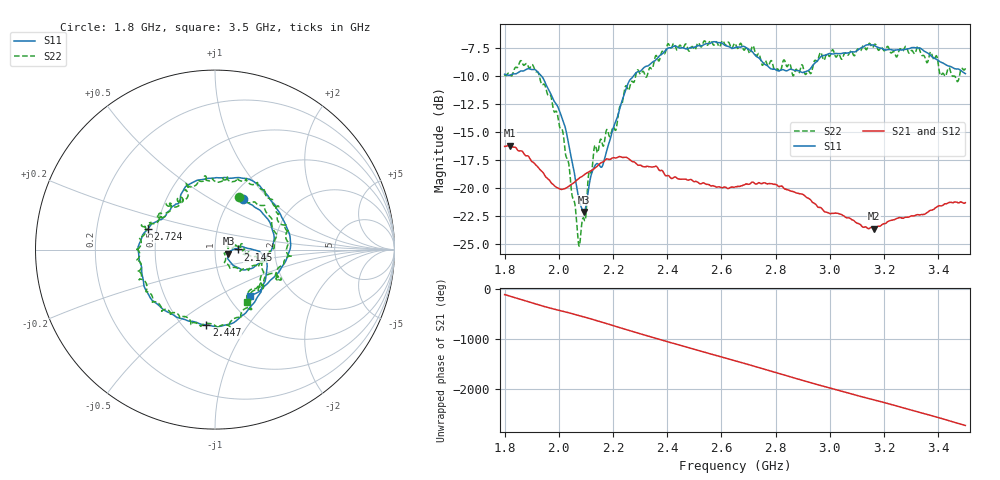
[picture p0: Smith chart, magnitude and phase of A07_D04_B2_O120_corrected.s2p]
! Created with skrf 1.9.0 (http://scikit-rf.org).
# Hz S RI R 50.0
!freq ReS11 ImS11 ReS21 ImS21 ReS12 ImS12 ReS22 ImS22
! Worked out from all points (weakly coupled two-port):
!   1601 points, 1.8 GHz to 3.5 GHz, reference 50 ohm
!   highest |S21| = -16.22 dB at 1.819 GHz (marker M1); lowest = -23.7 dB at 3.163 GHz (marker M2)
!   lowest |S11| = -22.1 dB at 2.092 GHz (marker M3), VSWR 1.17, Z = 58 - j2.7 ohm
!   |S11| at or under -10 dB: 1.936 GHz to 2.275 GHz (339.4 MHz wide, 16.1 % of centre)
!   |S22| runs from -25.2 to -6.8 dB; largest |S21 - S12| = 0.0025
!   S11 on the Smith chart (normalised r, x): 1.8 GHz: 1.13, +0.71; 2.145 GHz: 1.29, +0.00; 2.447 GHz: 0.65, -0.66; 2.724 GHz: 0.44, +0.12; 3.5 GHz: 1.26, -0.72
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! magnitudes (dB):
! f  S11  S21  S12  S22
! 1.8 GHz  -9.8  -16.3  -16.3  -9.9
! 1.819 GHz  -9.9  -16.2  -16.2  -9.8
! 1.903 GHz  -9.4  -17.7  -17.7  -9.0
! 1.968 GHz  -11.5  -19.4  -19.4  -11.7
! 2.022 GHz  -14.5  -20.1  -20.1  -16.5
! 2.071 GHz  -20.6  -19.2  -19.2  -24.6
! 2.084 GHz  -21.8  -19.0  -18.9  -23.4
! 2.092 GHz  -22.1  -18.8  -18.9  -22.7
! 2.113 GHz  -19.5  -18.5  -18.5  -18.5
! 2.145 GHz  -17.9  -18.0  -18.0  -16.7
! 2.209 GHz  -14.1  -17.3  -17.3  -14.9
! 2.26 GHz  -10.4  -17.5  -17.4  -11.1
! 2.367 GHz  -8.3  -18.3  -18.3  -8.6
! 2.447 GHz  -7.5  -19.2  -19.2  -7.2
! 2.65 GHz  -7.5  -19.9  -19.9  -7.1
! 2.724 GHz  -8.1  -19.6  -19.6  -7.9
! 2.934 GHz  -9.2  -21.2  -21.2  -9.6
! 3.163 GHz  -7.2  -23.7  -23.6  -7.2
! 3.217 GHz  -7.6  -23.0  -22.9  -7.5
! 3.327 GHz  -7.5  -22.4  -22.4  -7.4
! 3.468 GHz  -9.4  -21.3  -21.2  -10.4
! 3.5 GHz  -9.8  -21.3  -21.3  -9.3
